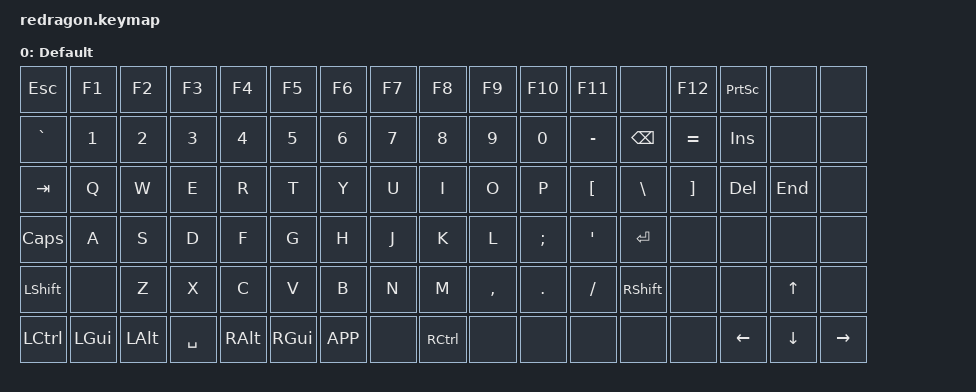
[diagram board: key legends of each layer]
#include <behaviors.dtsi>
#include <dt-bindings/zmk/keys.h>
#include <behaviors/socd.dtsi>

/ {
    behaviors {
        socdx: socd_x {
            compatible = "zmk,behavior-socd";
            #binding-cells = <1>;
            bindings = <&kp>;
        };

        socdy: socd_y {
            compatible = "zmk,behavior-socd";
            #binding-cells = <1>;
            bindings = <&kp>;
        };
    };

    keymap {
        compatible = "zmk,keymap";

        default_layer {
            display-name = "Default";
            bindings = <
/* ROW 0 */ &kp ESC    &kp F1     &kp F2     &kp F3     &kp F4     &kp F5     &kp F6     &kp F7     &kp F8     &kp F9     &kp F10    &kp F11    &none      &kp F12    &kp PSCRN  &none      &none   
/* ROW 1 */ &kp GRAVE  &kp N1     &kp N2     &kp N3     &kp N4     &kp N5     &kp N6     &kp N7     &kp N8     &kp N9     &kp N0     &kp MINUS  &kp BSPC   &kp EQUAL  &kp INS    &none      &none
/* ROW 2 */ &kp TAB    &kp Q      &kp W      &kp E      &kp R      &kp T      &kp Y      &kp U      &kp I      &kp O      &kp P      &kp LBKT   &kp BSLH   &kp RBKT   &kp DEL    &kp END    &none 
/* ROW 3 */ &kp CLCK   &kp A      &kp S      &kp D      &kp F      &kp G      &kp H      &kp J      &kp K      &kp L      &kp SEMI   &kp SQT    &kp RET    &none      &none      &none      &none
/* ROW 4 */ &kp LSHFT  &none      &kp Z      &kp X      &kp C      &kp V      &kp B      &kp N      &kp M      &kp COMMA  &kp DOT    &kp FSLH   &kp RSHFT  &none      &none      &kp UP     &none
/* ROW 5 */ &kp LCTRL  &kp LGUI   &kp LALT   &kp SPACE  &kp RALT   &kp RGUI   &kp K_APP  &none      &kp RCTRL  &none      &none      &none      &none      &none      &kp LEFT   &kp DOWN   &kp RIGHT
            >;
        };
    };
};
